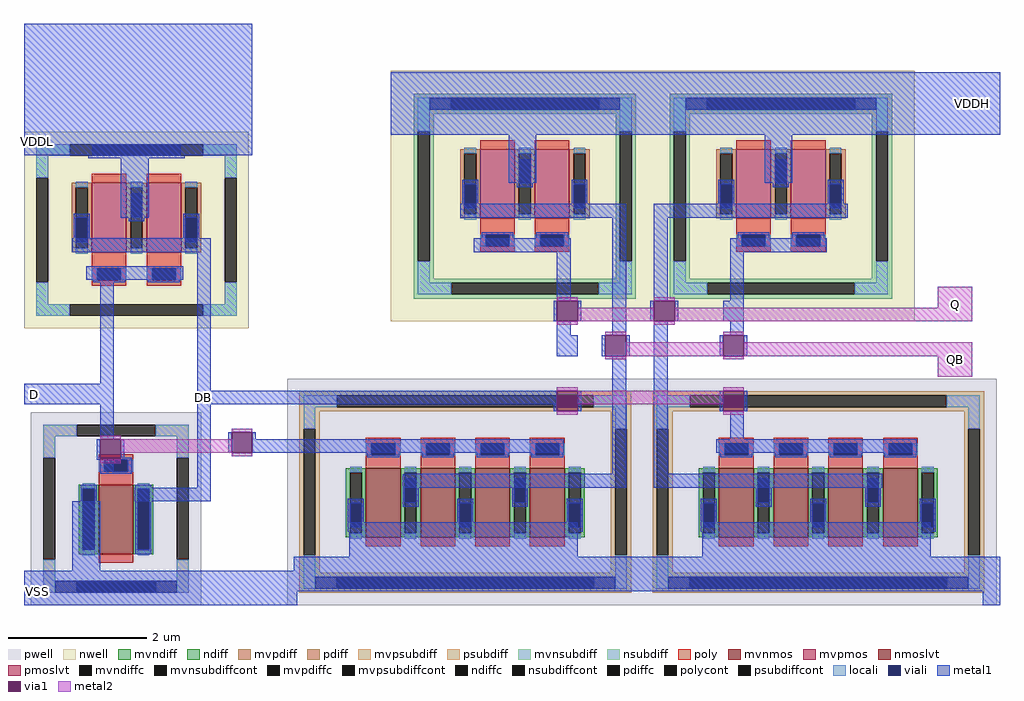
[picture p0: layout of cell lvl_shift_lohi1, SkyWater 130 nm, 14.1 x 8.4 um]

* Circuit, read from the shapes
.subckt lvl_shift_lohi1 D Q QB VDDH VDDL VSS
XM1 DB D VSS VSS sky130_fd_pr__nfet_01v8_lvt w=1 l=0.5
XM2 QB D VSS VSS sky130_fd_pr__nfet_g5v0d10v5 w=1 l=0.5 m=4
XM3 Q DB VSS VSS sky130_fd_pr__nfet_g5v0d10v5 w=1 l=0.5 m=4
XM4 VDDL D DB VDDL sky130_fd_pr__pfet_01v8_lvt w=1 l=0.5 m=2
XM5 VDDH Q QB VDDH sky130_fd_pr__pfet_g5v0d10v5 w=1 l=0.5 m=2
XM6 VDDH QB Q VDDH sky130_fd_pr__pfet_g5v0d10v5 w=1 l=0.5 m=2
.ends

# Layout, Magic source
magic
tech sky130A
magscale 1 2
<< metal1 >>
rect 0 1300 660 1680
rect 1060 1360 2820 1540
rect 280 1120 360 1300
rect 1400 1220 1480 1360
rect 2140 1220 2220 1360
rect 1260 1120 1740 1160
rect 140 1020 540 1060
rect 1300 1020 1580 1060
rect 180 940 460 980
rect 220 640 260 940
rect 0 580 260 640
rect 220 480 260 580
rect 500 620 540 1020
rect 1540 880 1580 1020
rect 1530 820 1540 880
rect 1600 820 1610 880
rect 1540 780 1580 820
rect 1700 780 1740 1120
rect 1820 1120 2380 1160
rect 1820 880 1860 1120
rect 2040 1020 2320 1060
rect 2040 880 2080 1020
rect 1810 820 1820 880
rect 1880 820 1890 880
rect 2020 820 2080 880
rect 1540 720 1600 780
rect 1670 720 1680 780
rect 1740 720 1750 780
rect 500 580 1540 620
rect 210 420 220 480
rect 280 420 290 480
rect 220 380 260 420
rect 500 340 540 580
rect 1530 560 1540 580
rect 1600 560 1610 620
rect 590 440 600 500
rect 660 480 670 500
rect 660 440 1560 480
rect 1700 380 1740 720
rect 1100 340 1740 380
rect 1820 380 1860 820
rect 2040 780 2080 820
rect 2010 720 2020 780
rect 2080 720 2090 780
rect 2010 560 2020 620
rect 2080 560 2090 620
rect 2040 480 2080 560
rect 2000 440 2580 480
rect 1820 340 2480 380
rect 320 300 540 340
rect 140 100 220 300
rect 940 140 1600 240
rect 1960 140 2620 240
rect 780 100 2820 140
rect 0 40 2820 100
rect 0 0 790 40
rect 2770 0 2820 40
<< via1 >>
rect 1540 820 1600 880
rect 1820 820 1880 880
rect 1680 720 1740 780
rect 220 420 280 480
rect 1540 560 1600 620
rect 600 440 660 500
rect 2020 720 2080 780
rect 2020 560 2080 620
<< metal2 >>
rect 1540 880 1600 890
rect 1820 880 1880 890
rect 1600 820 1820 860
rect 2640 860 2740 920
rect 1880 820 2740 860
rect 1540 810 1600 820
rect 1820 810 1880 820
rect 1680 780 1740 790
rect 2020 780 2080 790
rect 1740 720 2020 760
rect 2080 720 2740 760
rect 1680 710 1740 720
rect 2020 710 2080 720
rect 2640 660 2740 720
rect 1540 620 1600 630
rect 2020 620 2080 630
rect 1600 580 2020 620
rect 1540 550 1600 560
rect 2020 550 2080 560
rect 600 500 660 510
rect 220 480 280 490
rect 280 440 600 480
rect 600 430 660 440
rect 220 410 280 420
use sky130_fd_pr__nfet_01v8_lvt_FETKPT  sky130_fd_pr__nfet_01v8_lvt_FETKPT_0
transform 1 0 266 0 1 279
box -246 -279 246 279
use sky130_fd_pr__nfet_g5v0d10v5_8MENFK  sky130_fd_pr__nfet_g5v0d10v5_8MENFK_0
transform 1 0 2295 0 1 327
box -515 -327 515 327
use sky130_fd_pr__nfet_g5v0d10v5_8MENFK  sky130_fd_pr__nfet_g5v0d10v5_8MENFK_1
transform 1 0 1275 0 1 327
box -515 -327 515 327
use sky130_fd_pr__pfet_01v8_lvt_3K87YT  sky130_fd_pr__pfet_01v8_lvt_3K87YT_0
transform 1 0 325 0 1 1084
box -325 -284 325 284
use sky130_fd_pr__pfet_g5v0d10v5_3JABYW  sky130_fd_pr__pfet_g5v0d10v5_3JABYW_0
transform 1 0 2187 0 1 1182
box -387 -362 387 362
use sky130_fd_pr__pfet_g5v0d10v5_3JABYW  sky130_fd_pr__pfet_g5v0d10v5_3JABYW_1
transform 1 0 1447 0 1 1182
box -387 -362 387 362
<< labels >>
flabel metal1 0 580 60 640 0 FreeSans 1600 0 0 0 D
port 0 nsew
flabel metal1 500 580 540 620 0 FreeSans 320 0 0 0 DB
flabel metal2 2640 820 2740 920 0 FreeSans 800 0 0 0 Q
port 1 nsew
flabel metal2 2640 660 2740 760 0 FreeSans 800 0 0 0 QB
port 2 nsew
flabel metal1 2660 1360 2820 1540 0 FreeSans 1600 0 0 0 VDDH
port 3 nsew
flabel metal1 0 0 80 80 0 FreeSans 1600 0 0 0 VSS
port 5 nsew
flabel metal1 0 1300 80 1380 0 FreeSans 1600 0 0 0 VDDL
port 4 nsew
<< end >>

# cell sky130_fd_pr__nfet_01v8_lvt_FETKPT: kit device sky130_fd_pr__nfet_01v8_lvt, w 1 l 0.5 m 1 nf 1 diffcov 100 polycov 100 guard 1 glc 1 grc 1 gtc 1 gbc 1 tbcov 100 rlcov 100 topc 1 botc 0 poverlap 0 doverlap 1 lmin 0.15 wmin 0.42 compatible {sky130_fd_pr__nfet_01v8 sky130_fd_pr__nfet_01v8_lvt sky130_fd_bs_flash__special_sonosfet_star sky130_fd_pr__nfet_g5v0d10v5 sky130_fd_pr__nfet_05v0_nvt sky130_fd_pr__nfet_03v3_nvt} full_metal 1 viasrc 100 viadrn 100 viagate 100 viagb 100 viagr 0 viagl 0 viagt 0

# cell sky130_fd_pr__nfet_g5v0d10v5_8MENFK: kit device sky130_fd_pr__nfet_g5v0d10v5, w 1 l 0.50 m 1 nf 4 diffcov 100 polycov 100 guard 1 glc 1 grc 1 gtc 1 gbc 1 tbcov 100 rlcov 100 topc 1 botc 0 poverlap 0 doverlap 1 lmin 0.50 wmin 0.42 compatible {sky130_fd_pr__nfet_01v8 sky130_fd_pr__nfet_01v8_lvt sky130_fd_bs_flash__special_sonosfet_star sky130_fd_pr__nfet_g5v0d10v5 sky130_fd_pr__nfet_05v0_nvt sky130_fd_pr__nfet_03v3_nvt} full_metal 1 viasrc -40 viadrn +40 viagate 100 viagb 100 viagr 0 viagl 0 viagt 0

# cell sky130_fd_pr__pfet_01v8_lvt_3K87YT: kit device sky130_fd_pr__pfet_01v8_lvt, w 1 l 0.5 m 1 nf 2 diffcov 100 polycov 100 guard 1 glc 1 grc 1 gtc 1 gbc 1 tbcov 100 rlcov 100 topc 0 botc 1 poverlap 0 doverlap 1 lmin 0.35 wmin 0.42 compatible {sky130_fd_pr__pfet_01v8 sky130_fd_pr__pfet_01v8_lvt sky130_fd_pr__pfet_01v8_hvt sky130_fd_pr__pfet_g5v0d10v5} full_metal 1 viasrc -40 viadrn +40 viagate 100 viagb 0 viagr 0 viagl 0 viagt 50

# cell sky130_fd_pr__pfet_g5v0d10v5_3JABYW: kit device sky130_fd_pr__pfet_g5v0d10v5, w 1 l 0.50 m 1 nf 2 diffcov 100 polycov 100 guard 1 glc 1 grc 1 gtc 1 gbc 1 tbcov 100 rlcov 100 topc 0 botc 1 poverlap 0 doverlap 1 lmin 0.50 wmin 0.42 compatible {sky130_fd_pr__pfet_01v8 sky130_fd_pr__pfet_01v8_lvt sky130_fd_pr__pfet_01v8_hvt sky130_fd_pr__pfet_g5v0d10v5} full_metal 1 viasrc -40 viadrn +40 viagate 100 viagb 0 viagr 0 viagl 0 viagt 100
